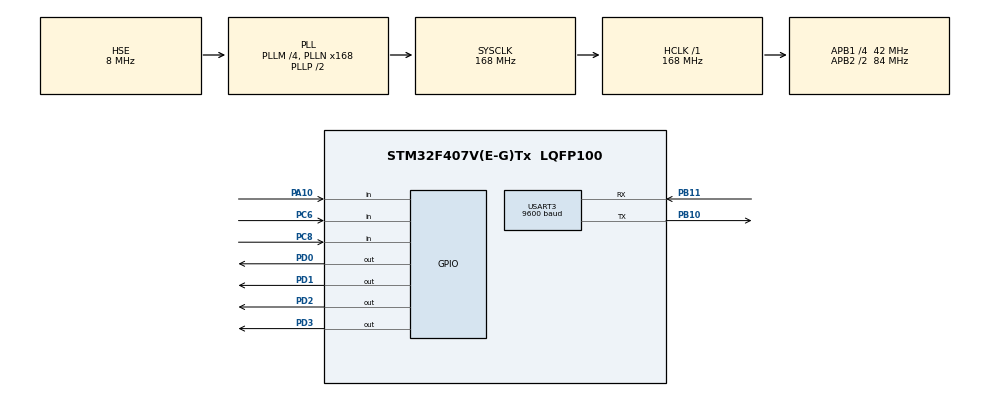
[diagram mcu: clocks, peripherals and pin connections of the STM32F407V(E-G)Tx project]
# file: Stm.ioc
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Mcu.Family=STM32F4
Mcu.Name=STM32F407V(E-G)Tx
Mcu.Package=LQFP100
NVIC.PriorityGroup=NVIC_PRIORITYGROUP_4
NVIC.USART3_IRQn=true\:0\:0\:false\:false\:true\:true\:true
PA10.GPIO_PuPd=GPIO_PULLUP
PA10.Signal=GPIO_Input
PB10.Mode=Asynchronous
PB10.Signal=USART3_TX
PB11.Mode=Asynchronous
PB11.Signal=USART3_RX
PC6.GPIO_PuPd=GPIO_PULLUP
PC6.Signal=GPIO_Input
PC8.GPIO_PuPd=GPIO_PULLUP
PC8.Signal=GPIO_Input
PD0.Signal=GPIO_Output
PD1.Signal=GPIO_Output
PD2.Signal=GPIO_Output
PD3.Signal=GPIO_Output
PH0-OSC_IN.Mode=HSE-External-Oscillator
PH0-OSC_IN.Signal=RCC_OSC_IN
PH1-OSC_OUT.Mode=HSE-External-Oscillator
PH1-OSC_OUT.Signal=RCC_OSC_OUT
ProjectManager.HeapSize=0x200
ProjectManager.StackSize=0x400
ProjectManager.TargetToolchain=STM32CubeIDE
RCC.48MHZClocksFreq_Value=84000000
RCC.AHBFreq_Value=168000000
RCC.APB1CLKDivider=RCC_HCLK_DIV4
RCC.APB1Freq_Value=42000000
RCC.APB1TimFreq_Value=84000000
RCC.APB2CLKDivider=RCC_HCLK_DIV2
RCC.APB2Freq_Value=84000000
RCC.APB2TimFreq_Value=168000000
RCC.CortexFreq_Value=168000000
RCC.HCLKFreq_Value=168000000
RCC.HSE_VALUE=8000000
RCC.HSI_VALUE=16000000
RCC.LSE_VALUE=32768
RCC.PLLM=4
RCC.PLLN=168
RCC.PLLSourceVirtual=RCC_PLLSOURCE_HSE
RCC.SYSCLKFreq_VALUE=168000000
RCC.SYSCLKSource=RCC_SYSCLKSOURCE_PLLCLK
RCC.VCOOutputFreq_Value=336000000
USART3.BaudRate=9600
USART3.VirtualMode=VM_ASYNC
board=custom

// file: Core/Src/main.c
/* USER CODE BEGIN Header */
/**
  ******************************************************************************
  * @file           : main.c
  * @brief          : Main program body
  ******************************************************************************
  * @attention
  *
  * <h2><center>&copy; Copyright (c) 2020 STMicroelectronics.
  * All rights reserved.</center></h2>
  *
  * This software component is licensed by ST under BSD 3-Clause license,
  * the "License"; You may not use this file except in compliance with the
  * License. You may obtain a copy of the License at:
  *                        opensource.org/licenses/BSD-3-Clause
  *
  ******************************************************************************
  */
/* USER CODE END Header */

#include "main.h"

UART_HandleTypeDef huart3;

void SystemClock_Config(void);
static void MX_GPIO_Init(void);
static void MX_USART3_UART_Init(void);

/* USER CODE BEGIN 0 */
int ifPin = 0, ifId = 1, ifOperacja = 0, ifKwota = 0;

char* klawiter(){

	uint8_t newline[1] = {10};
	uint16_t size = 1;
	uint8_t pom[1];

	while(1){
		HAL_GPIO_WritePin(GPIOD, GPIO_PIN_0, 0);
		HAL_GPIO_WritePin(GPIOD, GPIO_PIN_1, 1);
		HAL_GPIO_WritePin(GPIOD, GPIO_PIN_2, 1);
		HAL_GPIO_WritePin(GPIOD, GPIO_PIN_3, 1);
		//1
		if(HAL_GPIO_ReadPin(GPIOC, GPIO_PIN_6)==0){
			while(HAL_GPIO_ReadPin(GPIOC, GPIO_PIN_6)==0){}
			HAL_UART_Transmit(&huart3, "GetHttpRequest:http://ptmp23.azurewebsites.net/api/Device/sendKey/test/1",72 ,100);
			HAL_UART_Transmit(&huart3, newline, size, 50);
			HAL_UART_Receive(&huart3, pom, 1, 500);
			HAL_UART_Receive(&huart3, pom, 1, 500);
			return '1';
		}

		if(HAL_GPIO_ReadPin(GPIOC, GPIO_PIN_8)==0){
			while(HAL_GPIO_ReadPin(GPIOC, GPIO_PIN_8)==0){}
			HAL_UART_Transmit(&huart3, "GetHttpRequest:http://ptmp23.azurewebsites.net/api/Device/sendKey/test/2",72 ,100);
			HAL_UART_Transmit(&huart3, newline, size, 50);
			HAL_UART_Receive(&huart3, pom, 1, 500);
			HAL_UART_Receive(&huart3, pom, 1, 500);
			return '2';
		}

		if(HAL_GPIO_ReadPin(GPIOA, GPIO_PIN_10)==0){
			while(HAL_GPIO_ReadPin(GPIOA, GPIO_PIN_10)==0){}
			HAL_UART_Transmit(&huart3, "GetHttpRequest:http://ptmp23.azurewebsites.net/api/Device/sendKey/test/3",72 ,100);
			HAL_UART_Transmit(&huart3, newline, size, 50);
			HAL_UART_Receive(&huart3, pom, 1, 500);
			HAL_UART_Receive(&huart3, pom, 1, 500);
			return '3';
		}

		//2
		HAL_GPIO_WritePin(GPIOD, GPIO_PIN_0, 1);
		HAL_GPIO_WritePin(GPIOD, GPIO_PIN_1, 0);
		if(HAL_GPIO_ReadPin(GPIOC, GPIO_PIN_6)==0){
			while(HAL_GPIO_ReadPin(GPIOC, GPIO_PIN_6)==0){}
			HAL_UART_Transmit(&huart3, "GetHttpRequest:http://ptmp23.azurewebsites.net/api/Device/sendKey/test/4",72 ,100);
			HAL_UART_Transmit(&huart3, newline, size, 50);
			HAL_UART_Receive(&huart3, pom, 1, 500);
			HAL_UART_Receive(&huart3, pom, 1, 500);
			return '4';
		}

		if(HAL_GPIO_ReadPin(GPIOC, GPIO_PIN_8)==0){
			while(HAL_GPIO_ReadPin(GPIOC, GPIO_PIN_8)==0){}
			HAL_UART_Transmit(&huart3, "GetHttpRequest:http://ptmp23.azurewebsites.net/api/Device/sendKey/test/5",72 ,100);
			HAL_UART_Transmit(&huart3, newline, size, 50);
			HAL_UART_Receive(&huart3, pom, 1, 500);
			HAL_UART_Receive(&huart3, pom, 1, 500);
			return '5';
		}

		if(HAL_GPIO_ReadPin(GPIOA, GPIO_PIN_10)==0){
			while(HAL_GPIO_ReadPin(GPIOA, GPIO_PIN_10)==0){}
			HAL_UART_Transmit(&huart3, "GetHttpRequest:http://ptmp23.azurewebsites.net/api/Device/sendKey/test/6",72 ,100);
			HAL_UART_Transmit(&huart3, newline, size, 50);
			HAL_UART_Receive(&huart3, pom, 1, 500);
			HAL_UART_Receive(&huart3, pom, 1, 500);
			return '6';
		}

		//3
		HAL_GPIO_WritePin(GPIOD, GPIO_PIN_1, 1);
		HAL_GPIO_WritePin(GPIOD, GPIO_PIN_2, 0);
		if(HAL_GPIO_ReadPin(GPIOC, GPIO_PIN_6)==0){
			while(HAL_GPIO_ReadPin(GPIOC, GPIO_PIN_6)==0){}
			HAL_UART_Transmit(&huart3, "GetHttpRequest:http://ptmp23.azurewebsites.net/api/Device/sendKey/test/7",72 ,100);
			HAL_UART_Transmit(&huart3, newline, size, 50);
			HAL_UART_Receive(&huart3, pom, 1, 500);
			HAL_UART_Receive(&huart3, pom, 1, 500);
			return '7';
		}

		if(HAL_GPIO_ReadPin(GPIOC, GPIO_PIN_8)==0){
			while(HAL_GPIO_ReadPin(GPIOC, GPIO_PIN_8)==0){}
			HAL_UART_Transmit(&huart3, "GetHttpRequest:http://ptmp23.azurewebsites.net/api/Device/sendKey/test/8",72 ,100);
			HAL_UART_Transmit(&huart3, newline, size, 50);
			HAL_UART_Receive(&huart3, pom, 1, 500);
			HAL_UART_Receive(&huart3, pom, 1, 500);
			return '8';
		}

		if(HAL_GPIO_ReadPin(GPIOA, GPIO_PIN_10)==0){
			while(HAL_GPIO_ReadPin(GPIOA, GPIO_PIN_10)==0){}
			HAL_UART_Transmit(&huart3, "GetHttpRequest:http://ptmp23.azurewebsites.net/api/Device/sendKey/test/9",72 ,100);
			HAL_UART_Transmit(&huart3, newline, size, 50);
			HAL_UART_Receive(&huart3, pom, 1, 500);
			HAL_UART_Receive(&huart3, pom, 1, 500);
			return '9';
		}

		//4
		HAL_GPIO_WritePin(GPIOD, GPIO_PIN_2, 1);
		HAL_GPIO_WritePin(GPIOD, GPIO_PIN_3, 0);
		if(HAL_GPIO_ReadPin(GPIOC, GPIO_PIN_6)==0){
			while(HAL_GPIO_ReadPin(GPIOC, GPIO_PIN_6)==0){}
			HAL_UART_Transmit(&huart3, "GetHttpRequest:http://ptmp23.azurewebsites.net/api/Device/sendKey/test/*",72 ,100);
			HAL_UART_Transmit(&huart3, newline, size, 50);
			HAL_UART_Receive(&huart3, pom, 1, 500);
			HAL_UART_Receive(&huart3, pom, 1, 500);
			return '*';
		}

		if(HAL_GPIO_ReadPin(GPIOC, GPIO_PIN_8)==0){
			while(HAL_GPIO_ReadPin(GPIOC, GPIO_PIN_8)==0){}
			HAL_UART_Transmit(&huart3, "GetHttpRequest:http://ptmp23.azurewebsites.net/api/Device/sendKey/test/0",72 ,100);
			HAL_UART_Transmit(&huart3, newline, size, 50);
			HAL_UART_Receive(&huart3, pom, 1, 500);
			HAL_UART_Receive(&huart3, pom, 1, 500);
			return '0';
		}

		if(HAL_GPIO_ReadPin(GPIOA, GPIO_PIN_10)==0){
			while(HAL_GPIO_ReadPin(GPIOA, GPIO_PIN_10)==0){}
			HAL_UART_Transmit(&huart3, "GetHttpRequest:http://ptmp23.azurewebsites.net/api/Device/sendKey/test/#",72 ,100);
			HAL_UART_Transmit(&huart3, newline, size, 50);
			HAL_UART_Receive(&huart3, pom, 1, 500);
			HAL_UART_Receive(&huart3, pom, 1, 500);
			return '#';
		}
	}

}

void getuid(char * uid){
	char temp;
	for(int i=0; i<12; i++){
			temp = klawiter();
			uid[i] = temp;
		}
}

void getpin(char * pin){
	char temp;

	for(int i=0; i<4; i++){
		temp = klawiter();
		pin[i] = temp;
	}

}

void getPin(char * pin){
	char temp[4];
	while(ifPin != 1){
	getpin(pin);
	HAL_Delay(50);
	if(strcmp(pin,temp)) ifPin = 1;
	else {

	}}

}

char getOperacja(){
	char op = klawiter();
	while(ifOperacja != 1){
	if(op == '1' || op == '2' || op == '3'|| op == '4' || op == '5')
	ifOperacja = 1;

	else {

	}}

	return op;
}

void getKwota(char * kwota){
int pom = 0;
char ilosc;
while(pom != 1){
	ilosc = klawiter();
if(ilosc > 48 && ilosc < 54) //sprawdzenie czy miesci sie miedzy 1 a 5
pom = 1;
else {

}}
	switch(ilosc){
		case '1':{
			kwota[2] = '2'; //20
			ifKwota = 1;
			break;
		}
		case '2':{
			kwota[2] = '5'; //50
			ifKwota = 1;
			break;
		}
		case '3':{
			kwota[1] = '1'; //100
			ifKwota = 1;
			break;
		}
		case '4':{
			kwota[1] = '2'; //200
			ifKwota = 1;
			break;
		}
		case '5':{ //kwota niestandardowa
			char temp;
			int licznik = 0;
			//int liczba = 0;

			while(temp != '#' && licznik < 4){
				temp = klawiter();
				kwota[licznik] = temp;
				licznik++;
			}

			ifKwota = 1;

			if(kwota[licznik-2] != 0){
				ifKwota = 0;
			}

			break;
		}
	}
}

char readId[83] = "GetHttpRequest:http://ptm23.azurewebsites.net/api/Device/setDisplay/test/cardread/0";

void getKwota2(char * kwota){
int pom = 0;

		//kwota niestandardowa
			char temp;
			int licznik = 0;

			while(temp != '#' && licznik < 4){
				temp = klawiter();
				kwota[licznik] = temp;
				licznik++;
			}

			ifKwota = 1;

			if(kwota[licznik-2] != 0){
				ifKwota = 0;

		}
	}

void UID (char * uid){
	uint8_t sendUART[9] = "GetLastId";
	uint8_t newline[1] = {10};
	uint16_t size = 1;
	uint16_t sizeSendUART = 9;
	uint16_t sizeReceiveUART = 1;
	uint8_t pom[1];
	int i = 0;

	//do{
	HAL_UART_Transmit(&huart3, sendUART, sizeSendUART, 50);
	HAL_Delay(10);
	HAL_UART_Transmit(&huart3, newline, size, 50);
	HAL_Delay(10);
	do
	{
		if(HAL_UART_Receive(&huart3, pom, sizeReceiveUART, 100) == HAL_OK){
		if(pom[0] == 10) break;
		uid[i] = pom[0];
		i++;
		}
		HAL_Delay(10);
	}while(i<12);
	//HAL_UART_Receive(&huart3, pom, sizeReceiveUART, 100);
	//HAL_UART_Receive(&huart3, pom, sizeReceiveUART, 100);
	//if(uid[0] != 110)break;
	HAL_Delay(2000);
	//}while(1);

}

void saldo(const char * id){
	uint8_t newline[1] = {10};
	uint16_t size = 1;
	HAL_UART_Transmit(&huart3, "GetHttpRequest:http://ptmp23.azurewebsites.net/api/Device/setDisplay/test/balance/", 82, 5000);
				HAL_UART_Transmit(&huart3, id, 12, 5000);
				HAL_UART_Transmit(&huart3, newline, size, 50);
}

void widok(int n){
	uint8_t newline[1] = {10};
	uint16_t size = 1;
//uint8_t pom[1];
	switch(n){
	case(1):
		HAL_UART_Transmit(&huart3, "GetHttpRequest:http://ptmp23.azurewebsites.net/api/Device/setDisplay/test/menu/0", 80, 5000);
	HAL_UART_Transmit(&huart3, newline, size, 50);
	break;
	case(2):
		HAL_UART_Transmit(&huart3, "GetHttpRequest:http://ptmp23.azurewebsites.net/api/Device/setDisplay/test/cardread/0", 84, 5000);
	HAL_UART_Transmit(&huart3, newline, size, 50);
	break;
	case(3):
		HAL_UART_Transmit(&huart3, "GetHttpRequest:http://ptmp23.azurewebsites.net/api/Device/setDisplay/test/deposit/0", 83, 5000);
	HAL_UART_Transmit(&huart3, newline, size, 50);
	break;
	case(4):
		HAL_UART_Transmit(&huart3, "GetHttpRequest:http://ptmp23.azurewebsites.net/api/Device/setDisplay/test/pin/0", 79, 5000);
	HAL_UART_Transmit(&huart3, newline, size, 50);
	break;
	case(5):
		HAL_UART_Transmit(&huart3, "GetHttpRequest:http://ptmp23.azurewebsites.net/api/Device/setDisplay/test/transfer/0", 84, 5000);
	HAL_UART_Transmit(&huart3, newline, size, 50);
	break;

	case(6):
		HAL_UART_Transmit(&huart3, "GetHttpRequest:http://ptmp23.azurewebsites.net/api/Device/setDisplay/test/withdrawal/0", 86, 5000);
	HAL_UART_Transmit(&huart3, newline, size, 50);
	break;
	}

	//HAL_UART_Receive(&huart3, pom, 1, 100);
	//HAL_UART_Receive(&huart3, pom, 1, 100);
	//HAL_UART_Receive(&huart3, pom, 1, 100);
	//HAL_UART_Receive(&huart3, pom, 1, 100);

}

void getData(const uint8_t * id){
	char pin2[4];
	char uid[8];
	char kwota[4] = {'0', '0', '0', '0'};
int koniec = 0;
	char operacja;
	uint8_t pin[4];
	uint8_t getpin[60] = "GetHttpRequest:http://ptmp23.azurewebsites.net/api/Accounts/";
	uint8_t newline[1] = {10};
	uint8_t pinlast[4] = "/pin";
	uint16_t size2 = 60;
	uint16_t size = 1;
	uint8_t stankonta[4];
	uint8_t pom[1];
	int i = 0;

	widok(4);
	if(ifId == 1){
		getPin(pin2);
		HAL_Delay(15);
		HAL_UART_Transmit(&huart3, getpin, size2, 5000);
				HAL_Delay(15);
				HAL_UART_Transmit(&huart3, id, 12, 6000);
				HAL_Delay(15);
				HAL_UART_Transmit(&huart3, pinlast, 4, 5000);
				HAL_Delay(15);
				HAL_UART_Transmit(&huart3, newline, size, 50);
				HAL_Delay(15);
				HAL_UART_Receive(&huart3, pom, 1, 100);
		do{
			if(HAL_UART_Receive(&huart3, pom, 1, 100) == HAL_OK){
					if(pom[0] == 10) break;
					pin[i] = pom[0];
					i++;
			}}while(i<4);
		if(memcmp(pin,pin2,4) == 0){
			widok(1);
		}
		else{
			uint8_t error[93] = "GetHttpRequest:http://ptmp23.azurewebsites.net/api/Device/showPopup/test/error/Z%C5%82y%20pin";
			HAL_UART_Transmit(&huart3, error, 93, 5000);
			ifPin = 0;
		}

		HAL_UART_Transmit(&huart3, newline, size, 50);
}

do{
	if(ifPin == 1 && ifId == 1){
		operacja = getOperacja();
		if(operacja == '5') {
		HAL_UART_Transmit(&huart3, "ClearLastId", 11, 5000);
		HAL_UART_Transmit(&huart3, newline, size, 50);
		HAL_UART_Receive(&huart3, pom, 1, 100);
		HAL_UART_Receive(&huart3, pom, 1, 100);
		HAL_UART_Receive(&huart3, pom, 1, 100);
		HAL_UART_Receive(&huart3, pom, 1, 100);
		koniec=1;
		}
	}

	if(ifPin == 1 && ifId == 1 && ifOperacja == 1 && operacja == '1'){
			saldo(id);
			klawiter();
			widok(1);
			//wyslanie kwoty na serwer
		}
	else if(ifPin == 1 && ifId == 1 && ifOperacja == 1 && operacja == '3'){
		widok(3);
		getKwota2(kwota);
		HAL_UART_Transmit(&huart3, "GetHttpRequest:http://ptmp23.azurewebsites.net/api/Accounts/",60, 5000);
		HAL_UART_Transmit(&huart3, id, 12, 5000);
		HAL_UART_Transmit(&huart3, "/balance", 8, 5000);
		i =0;
		HAL_UART_Receive(&huart3, pom, 1, 100);
		do{
		if(HAL_UART_Receive(&huart3, pom, 1, 100) == HAL_OK){
							if(pom[0] == 10) break;
							stankonta[i] = pom[0];
							i++;
					}}while(i<4);

		int wplata = atoi(kwota);
		int stan = atoi(stankonta);

			stan = (stan+wplata);
			itoa(stan, stankonta, 10);

			//GetHttpRequest:http://ptmp23.azurewebsites.net/api/Accounts/0/balance/{NowaKwota}

			HAL_UART_Transmit(&huart3, "GetHttpRequest:http://ptmp23.azurewebsites.net/api/Accounts/",60, 5000);
			HAL_UART_Transmit(&huart3, id, 12, 5000);
			HAL_UART_Transmit(&huart3, "/balance/", 9, 5000);
			HAL_UART_Transmit(&huart3, stankonta, 4, 5000);
			HAL_UART_Transmit(&huart3, newline, size, 50);
			HAL_UART_Receive(&huart3, pom, 1, 50);
			HAL_UART_Receive(&huart3, pom, 1, 50);
			HAL_Delay(100);
			HAL_UART_Transmit(&huart3,"GetHttpRequest:http://ptmp23.azurewebsites.net/api/Device/showPopup/test/success/Transakcja%20przebieg%C5%82a%20pomy%C5%9Blnie",126,5000);
			HAL_UART_Transmit(&huart3, newline, size, 50);
			HAL_Delay(100);
			HAL_UART_Receive(&huart3, pom, 1, 50);
			HAL_UART_Receive(&huart3, pom, 1, 50);
			HAL_Delay(100);
			widok(1);
			HAL_Delay(100);

		HAL_Delay(10);

		//wyslanie kwoty na serwer
	}

	else if(ifPin == 1 && ifId == 1 && ifOperacja == 1 && operacja == '4'){
			widok(6);
			getKwota(kwota);
			HAL_UART_Transmit(&huart3, "GetHttpRequest:http://ptmp23.azurewebsites.net/api/Accounts/",60, 5000);
			HAL_UART_Transmit(&huart3, id, 12, 5000);
			HAL_UART_Transmit(&huart3, "/balance", 8, 5000);
			i =0;
			HAL_UART_Receive(&huart3, pom, 1, 100);
			do{
			if(HAL_UART_Receive(&huart3, pom, 1, 100) == HAL_OK){
								if(pom[0] == 10) break;
								stankonta[i] = pom[0];
								i++;
						}}while(i<4);

			int wyplata = atoi(kwota);
			int stan = atoi(stankonta);
		if(wyplata <= stan){
				stan = (stan-wyplata);
				itoa(stan, stankonta, 10);
				//stankonta = inttouint8(stan);

				//GetHttpRequest:http://ptmp23.azurewebsites.net/api/Accounts/0/balance/{NowaKwota}

				HAL_UART_Transmit(&huart3, "GetHttpRequest:http://ptmp23.azurewebsites.net/api/Accounts/",60, 5000);
				HAL_UART_Transmit(&huart3, id, 12, 5000);
				HAL_UART_Transmit(&huart3, "/balance/", 9, 5000);
				HAL_UART_Transmit(&huart3, stankonta, 4, 5000);
				HAL_UART_Transmit(&huart3, newline, size, 50);
				HAL_UART_Receive(&huart3, pom, 1, 50);
				HAL_UART_Receive(&huart3, pom, 1, 50);
				HAL_Delay(100);
				HAL_UART_Transmit(&huart3,"GetHttpRequest:http://ptmp23.azurewebsites.net/api/Device/showPopup/test/success/Transakcja%20przebieg%C5%82a%20pomy%C5%9Blnie",126,5000);
				HAL_UART_Transmit(&huart3, newline, size, 50);
				HAL_Delay(100);
				HAL_UART_Receive(&huart3, pom, 1, 50);
				HAL_UART_Receive(&huart3, pom, 1, 50);
				HAL_Delay(100);
				widok(1);
				HAL_Delay(100);
		}
		else {
			uint8_t braksrodkow[120] = "GetHttpRequest:http://ptmp23.azurewebsites.net/api/Device/showPopup/test/error/Wpisana%20kwota%20jest%20zbyt%20du%C5%BCa";
			HAL_UART_Transmit(&huart3, braksrodkow, 120, 5000);
			HAL_UART_Transmit(&huart3, newline, size, 50);
			HAL_UART_Receive(&huart3, pom, 1, 100);
			HAL_UART_Receive(&huart3, pom, 1, 100);
			HAL_Delay(100);
			widok(6);
			HAL_Delay(100);
		}

		}

	else if(ifPin == 1 && ifId == 1 && ifOperacja == 1 && operacja == '2'){
		widok(5);
		uint8_t idvol2[12];
		char kwota2[4] = {'0','0','0','0'};
		getuid(idvol2);
		getKwota2(kwota2);
		int ifok = 0;
		HAL_UART_Transmit(&huart3, "GetHttpRequest:http://ptmp23.azurewebsites.net/api/Accounts/",60, 5000);
					HAL_UART_Transmit(&huart3, id, 12, 5000);
					HAL_UART_Transmit(&huart3, "/balance", 8, 5000);
					i = 0;
					HAL_UART_Receive(&huart3, pom, 1, 100);
					do{
					if(HAL_UART_Receive(&huart3, pom, 1, 100) == HAL_OK){
										if(pom[0] == 10) break;
										stankonta[i] = pom[0];
										i++;
								}}while(i<4);

					int wyplata = atoi(kwota2);
					int stan = atoi(stankonta);
				if(wyplata <= stan){
						stan = (stan-wyplata);
						itoa(stan, stankonta, 10);
						//stankonta = inttouint8(stan);

						//GetHttpRequest:http://ptmp23.azurewebsites.net/api/Accounts/0/balance/{NowaKwota}
						HAL_UART_Receive(&huart3, pom, 1, 50);
						HAL_UART_Transmit(&huart3, "GetHttpRequest:http://ptmp23.azurewebsites.net/api/Accounts/",60, 5000);
						HAL_UART_Transmit(&huart3, id, 12, 5000);
						HAL_UART_Transmit(&huart3, "/balance/", 9, 5000);
						HAL_UART_Transmit(&huart3, stankonta, 4, 5000);
						HAL_UART_Transmit(&huart3, newline, size, 50);
						ifok = 1;
				}
				else {
					uint8_t braksrodkow[120] = "GetHttpRequest:http://ptmp23.azurewebsites.net/api/Device/showPopup/test/error/Wpisana%20kwota%20jest%20zbyt%20du%C5%BCa";
					HAL_UART_Transmit(&huart3, braksrodkow, 120, 5000);
					HAL_UART_Transmit(&huart3, newline, size, 50);
					HAL_UART_Receive(&huart3, pom, 1, 100);
					HAL_UART_Receive(&huart3, pom, 1, 100);
					HAL_Delay(100);
					widok(5);
					HAL_Delay(100);
				}

if(ifok ==1){
	HAL_Delay(1000);
				HAL_UART_Transmit(&huart3, "GetHttpRequest:http://ptmp23.azurewebsites.net/api/Accounts/",60, 5000);
						HAL_UART_Transmit(&huart3, idvol2, 12, 5000);
						HAL_UART_Transmit(&huart3, "/balance", 8, 5000);
						i=0;
						HAL_UART_Receive(&huart3, pom, 1, 100);
						HAL_UART_Receive(&huart3, pom, 1, 100);
						do{
						if(HAL_UART_Receive(&huart3, pom, 1, 100) == HAL_OK){
											if(pom[0] == 10) break;
											stankonta[i] = pom[0];
											i++;
									}}while(i<4);

						int wplata = atoi(kwota2);
						int stan = atoi(stankonta);

							stan = (stan+wplata);
							itoa(stan, stankonta, 10);

							HAL_UART_Transmit(&huart3, "GetHttpRequest:http://ptmp23.azurewebsites.net/api/Accounts/",60, 5000);
							HAL_UART_Transmit(&huart3, idvol2, 12, 5000);
							HAL_UART_Transmit(&huart3, "/balance/", 9, 5000);
							HAL_UART_Transmit(&huart3, stankonta, 4, 5000);
							HAL_UART_Transmit(&huart3, newline, size, 50);
							HAL_UART_Receive(&huart3, pom, 1, 50);
							HAL_UART_Receive(&huart3, pom, 1, 50);
							HAL_Delay(150);
							HAL_UART_Transmit(&huart3,"GetHttpRequest:http://ptmp23.azurewebsites.net/api/Device/showPopup/test/success/Transakcja%20przebieg%C5%82a%20pomy%C5%9Blnie",126,5000);
							HAL_UART_Transmit(&huart3, newline, size, 50);
							HAL_Delay(150);
							HAL_UART_Receive(&huart3, pom, 1, 50);
							HAL_UART_Receive(&huart3, pom, 1, 50);
							HAL_Delay(100);
							widok(1);
							HAL_Delay(100);

}

}
HAL_Delay(150);
}while(koniec != 1);

	//zerowanie flag
}
/* USER CODE END 0 */

int main(void)
{

  /* MCU Configuration--------------------------------------------------------*/

  /* Reset of all peripherals, Initializes the Flash interface and the Systick. */
  HAL_Init();

  /* Configure the system clock */
  SystemClock_Config();

  /* Initialize all configured peripherals */
  MX_GPIO_Init();
  MX_USART3_UART_Init();
  /* USER CODE BEGIN 2 */
  uint8_t id[12];
  //getData();
 // UID(id);

  uint8_t sendUART[3] = {65, 'B', 10};
  uint16_t sizeSendUART = 3;
  uint8_t receiveUART[1];
  uint16_t sizeReceiveUART = 1;
  uint8_t pom[1];
 // UID(id);
  //getData(id);
//klawiter();
  //HAL_Delay(500);
  /* USER CODE END 2 */

  /* Infinite loop */
  /* USER CODE BEGIN WHILE */
  while (1)
  {
	  //widok()

	  UID(id);
	  getData(id);
	  widok(2);
	  HAL_UART_Receive(&huart3, pom, 1, 100);
	  HAL_UART_Receive(&huart3, pom, 1, 100);  //czyszczenie bufora
	  HAL_UART_Receive(&huart3, pom, 1, 100);
	  HAL_UART_Receive(&huart3, pom, 1, 100);
	  HAL_Delay(500);
	  ifPin = 0;
	  ifId = 0;
	  ifOperacja = 0;
	  ifKwota = 0;
	  HAL_Delay(50);
    /* USER CODE END WHILE */

  }
}

void SystemClock_Config(void)
{
  RCC_OscInitTypeDef RCC_OscInitStruct = {0};
  RCC_ClkInitTypeDef RCC_ClkInitStruct = {0};

  /** Configure the main internal regulator output voltage
  */
  __HAL_RCC_PWR_CLK_ENABLE();
  __HAL_PWR_VOLTAGESCALING_CONFIG(PWR_REGULATOR_VOLTAGE_SCALE1);
  /** Initializes the CPU, AHB and APB busses clocks
  */
  RCC_OscInitStruct.OscillatorType = RCC_OSCILLATORTYPE_HSE;
  RCC_OscInitStruct.HSEState = RCC_HSE_ON;
  RCC_OscInitStruct.PLL.PLLState = RCC_PLL_ON;
  RCC_OscInitStruct.PLL.PLLSource = RCC_PLLSOURCE_HSE;
  RCC_OscInitStruct.PLL.PLLM = 4;
  RCC_OscInitStruct.PLL.PLLN = 168;
  RCC_OscInitStruct.PLL.PLLP = RCC_PLLP_DIV2;
  RCC_OscInitStruct.PLL.PLLQ = 4;
  if (HAL_RCC_OscConfig(&RCC_OscInitStruct) != HAL_OK)
  {
    Error_Handler();
  }
  /** Initializes the CPU, AHB and APB busses clocks
  */
  RCC_ClkInitStruct.ClockType = RCC_CLOCKTYPE_HCLK|RCC_CLOCKTYPE_SYSCLK
                              |RCC_CLOCKTYPE_PCLK1|RCC_CLOCKTYPE_PCLK2;
  RCC_ClkInitStruct.SYSCLKSource = RCC_SYSCLKSOURCE_PLLCLK;
  RCC_ClkInitStruct.AHBCLKDivider = RCC_SYSCLK_DIV1;
  RCC_ClkInitStruct.APB1CLKDivider = RCC_HCLK_DIV4;
  RCC_ClkInitStruct.APB2CLKDivider = RCC_HCLK_DIV2;

  if (HAL_RCC_ClockConfig(&RCC_ClkInitStruct, FLASH_LATENCY_5) != HAL_OK)
  {
    Error_Handler();
  }
}

static void MX_USART3_UART_Init(void)
{

  huart3.Instance = USART3;
  huart3.Init.BaudRate = 9600;
  huart3.Init.WordLength = UART_WORDLENGTH_8B;
  huart3.Init.StopBits = UART_STOPBITS_1;
  huart3.Init.Parity = UART_PARITY_NONE;
  huart3.Init.Mode = UART_MODE_TX_RX;
  huart3.Init.HwFlowCtl = UART_HWCONTROL_NONE;
  huart3.Init.OverSampling = UART_OVERSAMPLING_16;
  if (HAL_UART_Init(&huart3) != HAL_OK)
  {
    Error_Handler();
  }

}

static void MX_GPIO_Init(void)
{
  GPIO_InitTypeDef GPIO_InitStruct = {0};

  /* GPIO Ports Clock Enable */
  __HAL_RCC_GPIOH_CLK_ENABLE();
  __HAL_RCC_GPIOB_CLK_ENABLE();
  __HAL_RCC_GPIOC_CLK_ENABLE();
  __HAL_RCC_GPIOA_CLK_ENABLE();
  __HAL_RCC_GPIOD_CLK_ENABLE();

  /*Configure GPIO pin Output Level */
  HAL_GPIO_WritePin(GPIOD, GPIO_PIN_0|GPIO_PIN_1|GPIO_PIN_2|GPIO_PIN_3, GPIO_PIN_RESET);

  /*Configure GPIO pins : PC6 PC8 */
  GPIO_InitStruct.Pin = GPIO_PIN_6|GPIO_PIN_8;
  GPIO_InitStruct.Mode = GPIO_MODE_INPUT;
  GPIO_InitStruct.Pull = GPIO_PULLUP;
  HAL_GPIO_Init(GPIOC, &GPIO_InitStruct);

  /*Configure GPIO pin : PA10 */
  GPIO_InitStruct.Pin = GPIO_PIN_10;
  GPIO_InitStruct.Mode = GPIO_MODE_INPUT;
  GPIO_InitStruct.Pull = GPIO_PULLUP;
  HAL_GPIO_Init(GPIOA, &GPIO_InitStruct);

  /*Configure GPIO pins : PD0 PD1 PD2 PD3 */
  GPIO_InitStruct.Pin = GPIO_PIN_0|GPIO_PIN_1|GPIO_PIN_2|GPIO_PIN_3;
  GPIO_InitStruct.Mode = GPIO_MODE_OUTPUT_PP;
  GPIO_InitStruct.Pull = GPIO_NOPULL;
  GPIO_InitStruct.Speed = GPIO_SPEED_FREQ_LOW;
  HAL_GPIO_Init(GPIOD, &GPIO_InitStruct);

}

void Error_Handler(void)
{
}

/************************ (C) COPYRIGHT STMicroelectronics *****END OF FILE****/
